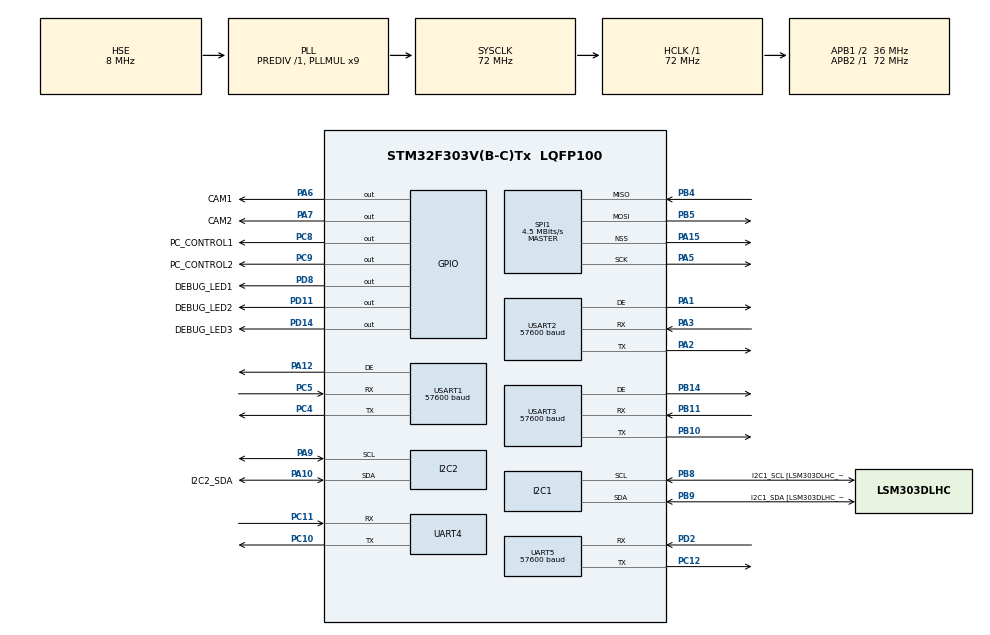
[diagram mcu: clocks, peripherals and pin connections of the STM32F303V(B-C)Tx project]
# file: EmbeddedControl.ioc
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Dma.Request0=USART2_RX
Dma.Request1=USART2_TX
Dma.Request2=USART3_RX
Dma.Request3=USART3_TX
Dma.Request4=USART1_RX
Dma.Request5=USART1_TX
Dma.Request6=UART4_RX
Dma.Request7=UART4_TX
Dma.UART4_RX.6.Direction=DMA_PERIPH_TO_MEMORY
Dma.UART4_RX.6.Instance=DMA2_Channel3
Dma.UART4_RX.6.MemDataAlignment=DMA_MDATAALIGN_BYTE
Dma.UART4_RX.6.MemInc=DMA_MINC_ENABLE
Dma.UART4_RX.6.Mode=DMA_NORMAL
Dma.UART4_RX.6.PeriphDataAlignment=DMA_PDATAALIGN_BYTE
Dma.UART4_RX.6.PeriphInc=DMA_PINC_DISABLE
Dma.UART4_RX.6.Priority=DMA_PRIORITY_VERY_HIGH
Dma.UART4_TX.7.Direction=DMA_MEMORY_TO_PERIPH
Dma.UART4_TX.7.Instance=DMA2_Channel5
Dma.UART4_TX.7.MemDataAlignment=DMA_MDATAALIGN_BYTE
Dma.UART4_TX.7.MemInc=DMA_MINC_ENABLE
Dma.UART4_TX.7.Mode=DMA_NORMAL
Dma.UART4_TX.7.PeriphDataAlignment=DMA_PDATAALIGN_BYTE
Dma.UART4_TX.7.PeriphInc=DMA_PINC_DISABLE
Dma.UART4_TX.7.Priority=DMA_PRIORITY_LOW
Dma.USART1_RX.4.Direction=DMA_PERIPH_TO_MEMORY
Dma.USART1_RX.4.Instance=DMA1_Channel5
Dma.USART1_RX.4.MemDataAlignment=DMA_MDATAALIGN_BYTE
Dma.USART1_RX.4.MemInc=DMA_MINC_ENABLE
Dma.USART1_RX.4.Mode=DMA_NORMAL
Dma.USART1_RX.4.PeriphDataAlignment=DMA_PDATAALIGN_BYTE
Dma.USART1_RX.4.PeriphInc=DMA_PINC_DISABLE
Dma.USART1_RX.4.Priority=DMA_PRIORITY_HIGH
Dma.USART1_TX.5.Direction=DMA_MEMORY_TO_PERIPH
Dma.USART1_TX.5.Instance=DMA1_Channel4
Dma.USART1_TX.5.MemDataAlignment=DMA_MDATAALIGN_BYTE
Dma.USART1_TX.5.MemInc=DMA_MINC_ENABLE
Dma.USART1_TX.5.Mode=DMA_NORMAL
Dma.USART1_TX.5.PeriphDataAlignment=DMA_PDATAALIGN_BYTE
Dma.USART1_TX.5.PeriphInc=DMA_PINC_DISABLE
Dma.USART1_TX.5.Priority=DMA_PRIORITY_HIGH
Dma.USART2_RX.0.Direction=DMA_PERIPH_TO_MEMORY
Dma.USART2_RX.0.Instance=DMA1_Channel6
Dma.USART2_RX.0.MemDataAlignment=DMA_MDATAALIGN_BYTE
Dma.USART2_RX.0.MemInc=DMA_MINC_ENABLE
Dma.USART2_RX.0.Mode=DMA_NORMAL
Dma.USART2_RX.0.PeriphDataAlignment=DMA_PDATAALIGN_BYTE
Dma.USART2_RX.0.PeriphInc=DMA_PINC_DISABLE
Dma.USART2_RX.0.Priority=DMA_PRIORITY_VERY_HIGH
Dma.USART2_TX.1.Direction=DMA_MEMORY_TO_PERIPH
Dma.USART2_TX.1.Instance=DMA1_Channel7
Dma.USART2_TX.1.MemDataAlignment=DMA_MDATAALIGN_BYTE
Dma.USART2_TX.1.MemInc=DMA_MINC_ENABLE
Dma.USART2_TX.1.Mode=DMA_NORMAL
Dma.USART2_TX.1.PeriphDataAlignment=DMA_PDATAALIGN_BYTE
Dma.USART2_TX.1.PeriphInc=DMA_PINC_DISABLE
Dma.USART2_TX.1.Priority=DMA_PRIORITY_VERY_HIGH
Dma.USART3_RX.2.Direction=DMA_PERIPH_TO_MEMORY
Dma.USART3_RX.2.Instance=DMA1_Channel3
Dma.USART3_RX.2.MemDataAlignment=DMA_MDATAALIGN_BYTE
Dma.USART3_RX.2.MemInc=DMA_MINC_ENABLE
Dma.USART3_RX.2.Mode=DMA_NORMAL
Dma.USART3_RX.2.PeriphDataAlignment=DMA_PDATAALIGN_BYTE
Dma.USART3_RX.2.PeriphInc=DMA_PINC_DISABLE
Dma.USART3_RX.2.Priority=DMA_PRIORITY_HIGH
Dma.USART3_TX.3.Direction=DMA_MEMORY_TO_PERIPH
Dma.USART3_TX.3.Instance=DMA1_Channel2
Dma.USART3_TX.3.MemDataAlignment=DMA_MDATAALIGN_BYTE
Dma.USART3_TX.3.MemInc=DMA_MINC_ENABLE
Dma.USART3_TX.3.Mode=DMA_NORMAL
Dma.USART3_TX.3.PeriphDataAlignment=DMA_PDATAALIGN_BYTE
Dma.USART3_TX.3.PeriphInc=DMA_PINC_DISABLE
Dma.USART3_TX.3.Priority=DMA_PRIORITY_HIGH
FREERTOS.INCLUDE_vTaskDelayUntil=1
FREERTOS.MEMORY_ALLOCATION=2
FREERTOS.Mutexes01=mutData,Static,mutDataControlBlock
FREERTOS.Tasks01=tLedBlinkingTask,-2,128,func_tLedBlinkingTask,Default,NULL,Static,tLedBlinkingTaskBuffer,tLedBlinkingTaskControlBlock;tVmaCommTask,-1,128,func_tVmaCommTask,Default,NULL,Static,tVmaCommTaskBuffer,tVmaCommTaskControlBlock;tImuCommTask,-1,128,func_tImuCommTask,Default,NULL,Static,tImuCommTaskBuffer,tImuCommTaskControlBlock;tStabilizationTask,-1,128,func_tStabilizationTask,Default,NULL,Static,tStabilizationTaskBuffer,tStabilizationTaskControlBlock;tDevCommTask,-1,128,func_tDevCommTask,Default,NULL,Static,tDevCommTaskBuffer,tDevCommTaskControlBlock;tSensCommTask,-1,128,func_tSensCommTask,Default,NULL,Static,tSensCommTaskBuffer,tSensCommTaskControlBlock;tPcCommTask,-1,128,func_tPcCommTask,Default,NULL,Static,tPcCommTaskBuffer,tPcCommTaskControlBlock
FREERTOS.Timers01=tUartTimer,func_tUartTimer,osTimerOnce,Default,NULL,Dynamic,NULL;tSilence,tSilence_func,osTimerOnce,Default,NULL,Dynamic,NULL;tTechCommTImer,tTechCommTImer_callback,osTimerOnce,Default,NULL,Dynamic,NULL
FREERTOS.configMAX_PRIORITIES=4
FREERTOS.configMAX_TASK_NAME_LEN=32
FREERTOS.configTOTAL_HEAP_SIZE=1024
FREERTOS.configUSE_MUTEXES=1
FREERTOS.configUSE_TIMERS=1
I2C1.Timing=0x10808DD3
Mcu.Family=STM32F3
Mcu.Name=STM32F303V(B-C)Tx
Mcu.Package=LQFP100
NVIC.DMA1_Channel2_IRQn=true\:5\:0\:false\:false\:true\:true\:false\:true
NVIC.DMA1_Channel3_IRQn=true\:5\:0\:false\:false\:true\:true\:false\:true
NVIC.DMA1_Channel4_IRQn=true\:5\:0\:false\:false\:true\:true\:false\:true
NVIC.DMA1_Channel5_IRQn=true\:5\:0\:false\:false\:true\:true\:false\:true
NVIC.DMA1_Channel6_IRQn=true\:5\:0\:false\:false\:true\:true\:false\:true
NVIC.DMA1_Channel7_IRQn=true\:5\:0\:false\:false\:true\:true\:false\:true
NVIC.DMA2_Channel3_IRQn=true\:5\:0\:false\:false\:true\:true\:false\:true
NVIC.DMA2_Channel5_IRQn=true\:5\:0\:false\:false\:true\:true\:false\:true
NVIC.I2C1_EV_IRQn=true\:5\:0\:false\:false\:true\:true\:true\:true
NVIC.I2C2_EV_IRQn=true\:5\:0\:false\:false\:true\:true\:true\:true
NVIC.PriorityGroup=NVIC_PRIORITYGROUP_4
NVIC.TIM1_UP_TIM16_IRQn=true\:0\:0\:false\:false\:true\:false\:false\:true
NVIC.TimeBase=TIM1_UP_TIM16_IRQn
NVIC.TimeBaseIP=TIM1
NVIC.UART4_IRQn=true\:5\:0\:false\:false\:true\:true\:true\:true
NVIC.UART5_IRQn=true\:5\:0\:false\:false\:true\:true\:true\:true
NVIC.USART1_IRQn=true\:5\:0\:false\:false\:true\:true\:true\:true
NVIC.USART2_IRQn=true\:5\:0\:false\:false\:true\:true\:true\:true
NVIC.USART3_IRQn=true\:5\:0\:false\:false\:true\:true\:true\:true
PA1.Mode=Hardware Flow Control (RS485)
PA1.Signal=USART2_DE
PA10.GPIO_Label=I2C2_SDA
PA10.GPIO_PuPdOD=GPIO_NOPULL
PA10.Mode=I2C
PA10.Signal=I2C2_SDA
PA12.Mode=Hardware Flow Control (RS485)
PA12.Signal=USART1_DE
PA13.Mode=Trace_Asynchronous_SW
PA13.Signal=SYS_JTMS-SWDIO
PA14.GPIO_Label=SWCLK
PA14.Mode=Trace_Asynchronous_SW
PA14.Signal=SYS_JTCK-SWCLK
PA15.Mode=NSS_Signal_Hard_Output
PA15.Signal=SPI1_NSS
PA2.GPIO_PuPd=GPIO_PULLUP
PA2.Mode=Asynchronous
PA2.Signal=USART2_TX
PA3.GPIO_PuPd=GPIO_PULLUP
PA3.Mode=Asynchronous
PA3.Signal=USART2_RX
PA5.Mode=Full_Duplex_Master
PA5.Signal=SPI1_SCK
PA6.GPIO_Label=CAM1
PA6.Signal=GPIO_Output
PA7.GPIO_Label=CAM2
PA7.Signal=GPIO_Output
PA9.GPIO_PuPdOD=GPIO_NOPULL
PA9.Mode=I2C
PA9.Signal=I2C2_SCL
PB10.GPIO_PuPd=GPIO_PULLUP
PB10.Mode=Asynchronous
PB10.Signal=USART3_TX
PB11.GPIO_PuPd=GPIO_PULLUP
PB11.Mode=Asynchronous
PB11.Signal=USART3_RX
PB14.Mode=Hardware Flow Control (RS485)
PB14.Signal=USART3_DE
PB3.GPIO_Label=SWO
PB3.Mode=Trace_Asynchronous_SW
PB3.Signal=SYS_JTDO-TRACESWO
PB4.Mode=Full_Duplex_Master
PB4.Signal=SPI1_MISO
PB5.Mode=Full_Duplex_Master
PB5.Signal=SPI1_MOSI
PB8.GPIO_FM6=__NULL
PB8.GPIO_Label=I2C1_SCL [LSM303DLHC_SCL]
PB8.GPIO_Mode=GPIO_MODE_AF_OD
PB8.GPIO_PuPdOD=GPIO_NOPULL
PB8.GPIO_Speed=GPIO_SPEED_FREQ_LOW
PB8.Mode=I2C
PB8.Signal=I2C1_SCL
PB9.GPIO_FM7=__NULL
PB9.GPIO_Label=I2C1_SDA [LSM303DLHC_SDA]
PB9.GPIO_Mode=GPIO_MODE_AF_OD
PB9.GPIO_PuPdOD=GPIO_NOPULL
PB9.GPIO_Speed=GPIO_SPEED_FREQ_LOW
PB9.Mode=I2C
PB9.Signal=I2C1_SDA
PC10.GPIO_PuPd=GPIO_PULLUP
PC10.Mode=Asynchronous
PC10.Signal=UART4_TX
PC11.GPIO_PuPd=GPIO_PULLUP
PC11.Mode=Asynchronous
PC11.Signal=UART4_RX
PC12.GPIO_ModeDefaultPP=GPIO_MODE_AF_OD
PC12.GPIO_PuPd=GPIO_NOPULL
PC12.Mode=Asynchronous
PC12.Signal=UART5_TX
PC4.GPIO_PuPd=GPIO_PULLUP
PC4.Mode=Asynchronous
PC4.Signal=USART1_TX
PC5.GPIO_PuPd=GPIO_PULLUP
PC5.Mode=Asynchronous
PC5.Signal=USART1_RX
PC8.GPIO_Label=PC_CONTROL1
PC8.Signal=GPIO_Output
PC9.GPIO_Label=PC_CONTROL2
PC9.Signal=GPIO_Output
PD11.GPIO_Label=DEBUG_LED2
PD11.Signal=GPIO_Output
PD14.GPIO_Label=DEBUG_LED3
PD14.Signal=GPIO_Output
PD2.GPIO_ModeDefaultPP=GPIO_MODE_AF_OD
PD2.GPIO_PuPd=GPIO_NOPULL
PD2.Mode=Asynchronous
PD2.Signal=UART5_RX
PD8.GPIO_Label=DEBUG_LED1
PD8.Signal=GPIO_Output
PF0-OSC_IN.GPIO_Label=OSC_IN
PF0-OSC_IN.Mode=HSE-External-Oscillator
PF0-OSC_IN.Signal=RCC_OSC_IN
PF1-OSC_OUT.GPIO_Label=OSC_OUT
PF1-OSC_OUT.Mode=HSE-External-Oscillator
PF1-OSC_OUT.Signal=RCC_OSC_OUT
ProjectManager.HeapSize=0x200
ProjectManager.StackSize=0x400
ProjectManager.TargetToolchain=TrueSTUDIO
RCC.AHBFreq_Value=72000000
RCC.APB1CLKDivider=RCC_HCLK_DIV2
RCC.APB1Freq_Value=36000000
RCC.APB1TimFreq_Value=72000000
RCC.APB2Freq_Value=72000000
RCC.APB2TimFreq_Value=72000000
RCC.CortexFreq_Value=72000000
RCC.HCLKFreq_Value=72000000
RCC.HSE_VALUE=8000000
RCC.HSI_VALUE=8000000
RCC.I2c1ClockSelection=RCC_I2C1CLKSOURCE_SYSCLK
RCC.LSE_VALUE=32768
RCC.PLLMUL=RCC_PLL_MUL9
RCC.PLLSourceVirtual=RCC_PLLSOURCE_HSE
RCC.SYSCLKFreq_VALUE=72000000
RCC.SYSCLKSourceVirtual=RCC_SYSCLKSOURCE_PLLCLK
RCC.USBFreq_Value=72000000
RCC.Uart4ClockSelection=RCC_UART4CLKSOURCE_SYSCLK
RCC.Usart2ClockSelection=RCC_USART2CLKSOURCE_SYSCLK
RCC.Usart3ClockSelection=RCC_USART3CLKSOURCE_SYSCLK
SPI1.BaudRatePrescaler=SPI_BAUDRATEPRESCALER_16
SPI1.CalculateBaudRate=4.5 MBits/s
SPI1.Direction=SPI_DIRECTION_2LINES
SPI1.Mode=SPI_MODE_MASTER
SPI1.VirtualNSS=VM_NSSHARD
SPI1.VirtualType=VM_MASTER
UART4.DMADisableonRxErrorParam=UART_ADVFEATURE_DMA_DISABLEONRXERROR
UART5.BaudRate=57600
UART5.SwapParam=UART_ADVFEATURE_SWAP_ENABLE
USART1.BaudRate=57600
USART1.DMADisableonRxErrorParam=ADVFEATURE_DMA_ENABLEONRXERROR
USART1.VirtualMode-Asynchronous=VM_ASYNC
USART1.VirtualMode-Hardware\ Flow\ Control\ (RS485)=VM_ASYNC
USART2.BaudRate=57600
USART2.DMADisableonRxErrorParam=ADVFEATURE_DMA_ENABLEONRXERROR
USART2.VirtualMode-Asynchronous=VM_ASYNC
USART2.VirtualMode-Hardware\ Flow\ Control\ (RS485)=VM_ASYNC
USART3.BaudRate=57600
USART3.DMADisableonRxErrorParam=ADVFEATURE_DMA_ENABLEONRXERROR
USART3.VirtualMode-Asynchronous=VM_ASYNC
USART3.VirtualMode-Hardware\ Flow\ Control\ (RS485)=VM_ASYNC
VP_FREERTOS_VS_CMSIS_V1.Mode=CMSIS_V1
VP_SYS_VS_tim1.Mode=TIM1
VP_TIM7_VS_ClockSourceINT.Mode=Enable_Timer
board=STM32F3DISCOVERY

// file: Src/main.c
/* USER CODE BEGIN Header */
/**
  ******************************************************************************
  * @file           : main.c
  * @brief          : Main program body
  ******************************************************************************
  * This notice applies to any and all portions of this file
  * that are not between comment pairs USER CODE BEGIN and
  * USER CODE END. Other portions of this file, whether
  * inserted by the user or by software development tools
  * are owned by their respective copyright owners.
  *
  * Copyright (c) 2018 STMicroelectronics International N.V.
  * All rights reserved.
  *
  * Redistribution and use in source and binary forms, with or without
  * modification, are permitted, provided that the following conditions are met:
  *
  * 1. Redistribution of source code must retain the above copyright notice,
  *    this list of conditions and the following disclaimer.
  * 2. Redistributions in binary form must reproduce the above copyright notice,
  *    this list of conditions and the following disclaimer in the documentation
  *    and/or other materials provided with the distribution.
  * 3. Neither the name of STMicroelectronics nor the names of other
  *    contributors to this software may be used to endorse or promote products
  *    derived from this software without specific written permission.
  * 4. This software, including modifications and/or derivative works of this
  *    software, must execute solely and exclusively on microcontroller or
  *    microprocessor devices manufactured by or for STMicroelectronics.
  * 5. Redistribution and use of this software other than as permitted under
  *    this license is void and will automatically terminate your rights under
  *    this license.
  *
  * THIS SOFTWARE IS PROVIDED BY STMICROELECTRONICS AND CONTRIBUTORS "AS IS"
  * AND ANY EXPRESS, IMPLIED OR STATUTORY WARRANTIES, INCLUDING, BUT NOT
  * LIMITED TO, THE IMPLIED WARRANTIES OF MERCHANTABILITY, FITNESS FOR A
  * PARTICULAR PURPOSE AND NON-INFRINGEMENT OF THIRD PARTY INTELLECTUAL PROPERTY
  * RIGHTS ARE DISCLAIMED TO THE FULLEST EXTENT PERMITTED BY LAW. IN NO EVENT
  * SHALL STMICROELECTRONICS OR CONTRIBUTORS BE LIABLE FOR ANY DIRECT, INDIRECT,
  * INCIDENTAL, SPECIAL, EXEMPLARY, OR CONSEQUENTIAL DAMAGES (INCLUDING, BUT NOT
  * LIMITED TO, PROCUREMENT OF SUBSTITUTE GOODS OR SERVICES; LOSS OF USE, DATA,
  * OR PROFITS; OR BUSINESS INTERRUPTION) HOWEVER CAUSED AND ON ANY THEORY OF
  * LIABILITY, WHETHER IN CONTRACT, STRICT LIABILITY, OR TORT (INCLUDING
  * NEGLIGENCE OR OTHERWISE) ARISING IN ANY WAY OUT OF THE USE OF THIS SOFTWARE,
  * EVEN IF ADVISED OF THE POSSIBILITY OF SUCH DAMAGE.
  *
  ******************************************************************************
  */
/* USER CODE END Header */

#include "main.h"
#include "cmsis_os.h"
#include "dma.h"
#include "i2c.h"
#include "spi.h"
#include "tim.h"
#include "usart.h"
#include "gpio.h"

/* USER CODE BEGIN PV */
/* Private variables ---------------------------------------------------------*/

/* USER CODE END PV */

void SystemClock_Config(void);
void MX_FREERTOS_Init(void);
/* USER CODE BEGIN PFP */
/* Private function prototypes -----------------------------------------------*/

/* USER CODE END PFP */

int main(void) {

  /* MCU Configuration--------------------------------------------------------*/

  /* Reset of all peripherals, Initializes the Flash interface and the Systick. */
  HAL_Init();

  /* Configure the system clock */
  SystemClock_Config();

  /* Initialize all configured peripherals */
  MX_GPIO_Init();
  MX_DMA_Init();
  MX_I2C1_Init();
  MX_TIM7_Init();
  MX_UART4_Init();
  MX_USART1_UART_Init();
  MX_USART2_UART_Init();
  MX_USART3_UART_Init();
  MX_I2C2_Init();
  MX_UART5_Init();
  MX_SPI1_Init();

  /* Call init function for freertos objects (in freertos.c) */
  //Jetson turn on
	HAL_GPIO_WritePin(PC_CONTROL1_GPIO_Port, PC_CONTROL1_Pin, GPIO_PIN_RESET); // RESET
	HAL_GPIO_WritePin(PC_CONTROL2_GPIO_Port, PC_CONTROL2_Pin, GPIO_PIN_RESET); // ONOFF
	HAL_Delay(10);
	HAL_GPIO_WritePin(PC_CONTROL1_GPIO_Port, PC_CONTROL1_Pin, GPIO_PIN_SET); // RESET
	HAL_GPIO_WritePin(PC_CONTROL2_GPIO_Port, PC_CONTROL2_Pin, GPIO_PIN_SET); // ONOFF
    //HAL_Delay(60e3);
     //HAL_Delay(10e3);

  MX_FREERTOS_Init();

  /* Start scheduler */
  osKernelStart();

  /* We should never get here as control is now taken by the scheduler */

  /* Infinite loop */
  while (1)
  {

  }
}

void SystemClock_Config(void)
{
  RCC_OscInitTypeDef RCC_OscInitStruct = {0};
  RCC_ClkInitTypeDef RCC_ClkInitStruct = {0};
  RCC_PeriphCLKInitTypeDef PeriphClkInit = {0};

  /** Initializes the CPU, AHB and APB busses clocks
  */
  RCC_OscInitStruct.OscillatorType = RCC_OSCILLATORTYPE_HSI|RCC_OSCILLATORTYPE_HSE;
  RCC_OscInitStruct.HSEState = RCC_HSE_ON;
  RCC_OscInitStruct.HSEPredivValue = RCC_HSE_PREDIV_DIV1;
  RCC_OscInitStruct.HSIState = RCC_HSI_ON;
  RCC_OscInitStruct.HSICalibrationValue = RCC_HSICALIBRATION_DEFAULT;
  RCC_OscInitStruct.PLL.PLLState = RCC_PLL_ON;
  RCC_OscInitStruct.PLL.PLLSource = RCC_PLLSOURCE_HSE;
  RCC_OscInitStruct.PLL.PLLMUL = RCC_PLL_MUL9;
  if (HAL_RCC_OscConfig(&RCC_OscInitStruct) != HAL_OK)
  {
    Error_Handler();
  }
  /** Initializes the CPU, AHB and APB busses clocks
  */
  RCC_ClkInitStruct.ClockType = RCC_CLOCKTYPE_HCLK|RCC_CLOCKTYPE_SYSCLK
                              |RCC_CLOCKTYPE_PCLK1|RCC_CLOCKTYPE_PCLK2;
  RCC_ClkInitStruct.SYSCLKSource = RCC_SYSCLKSOURCE_PLLCLK;
  RCC_ClkInitStruct.AHBCLKDivider = RCC_SYSCLK_DIV1;
  RCC_ClkInitStruct.APB1CLKDivider = RCC_HCLK_DIV2;
  RCC_ClkInitStruct.APB2CLKDivider = RCC_HCLK_DIV1;

  if (HAL_RCC_ClockConfig(&RCC_ClkInitStruct, FLASH_LATENCY_2) != HAL_OK)
  {
    Error_Handler();
  }
  PeriphClkInit.PeriphClockSelection = RCC_PERIPHCLK_USART1|RCC_PERIPHCLK_USART2
                              |RCC_PERIPHCLK_USART3|RCC_PERIPHCLK_UART4
                              |RCC_PERIPHCLK_UART5|RCC_PERIPHCLK_I2C1
                              |RCC_PERIPHCLK_I2C2;
  PeriphClkInit.Usart1ClockSelection = RCC_USART1CLKSOURCE_PCLK2;
  PeriphClkInit.Usart2ClockSelection = RCC_USART2CLKSOURCE_SYSCLK;
  PeriphClkInit.Usart3ClockSelection = RCC_USART3CLKSOURCE_SYSCLK;
  PeriphClkInit.Uart4ClockSelection = RCC_UART4CLKSOURCE_SYSCLK;
  PeriphClkInit.Uart5ClockSelection = RCC_UART5CLKSOURCE_PCLK1;
  PeriphClkInit.I2c1ClockSelection = RCC_I2C1CLKSOURCE_SYSCLK;
  PeriphClkInit.I2c2ClockSelection = RCC_I2C2CLKSOURCE_HSI;
  if (HAL_RCCEx_PeriphCLKConfig(&PeriphClkInit) != HAL_OK)
  {
    Error_Handler();
  }
}

void HAL_TIM_PeriodElapsedCallback(TIM_HandleTypeDef *htim)
{
  if (htim->Instance == TIM1) {
    HAL_IncTick();
  }
}

void Error_Handler(void)
{
  while(1)
  {
  }
}

/************************ (C) COPYRIGHT STMicroelectronics *****END OF FILE****/

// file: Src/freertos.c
/* USER CODE BEGIN Header */
/**
  ******************************************************************************
  * File Name          : freertos.c
  * Description        : Code for freertos applications
  ******************************************************************************
  * This notice applies to any and all portions of this file
  * that are not between comment pairs USER CODE BEGIN and
  * USER CODE END. Other portions of this file, whether
  * inserted by the user or by software development tools
  * are owned by their respective copyright owners.
  *
  * Copyright (c) 2018 STMicroelectronics International N.V.
  * All rights reserved.
  *
  * Redistribution and use in source and binary forms, with or without
  * modification, are permitted, provided that the following conditions are met:
  *
  * 1. Redistribution of source code must retain the above copyright notice,
  *    this list of conditions and the following disclaimer.
  * 2. Redistributions in binary form must reproduce the above copyright notice,
  *    this list of conditions and the following disclaimer in the documentation
  *    and/or other materials provided with the distribution.
  * 3. Neither the name of STMicroelectronics nor the names of other
  *    contributors to this software may be used to endorse or promote products
  *    derived from this software without specific written permission.
  * 4. This software, including modifications and/or derivative works of this
  *    software, must execute solely and exclusively on microcontroller or
  *    microprocessor devices manufactured by or for STMicroelectronics.
  * 5. Redistribution and use of this software other than as permitted under
  *    this license is void and will automatically terminate your rights under
  *    this license.
  *
  * THIS SOFTWARE IS PROVIDED BY STMICROELECTRONICS AND CONTRIBUTORS "AS IS"
  * AND ANY EXPRESS, IMPLIED OR STATUTORY WARRANTIES, INCLUDING, BUT NOT
  * LIMITED TO, THE IMPLIED WARRANTIES OF MERCHANTABILITY, FITNESS FOR A
  * PARTICULAR PURPOSE AND NON-INFRINGEMENT OF THIRD PARTY INTELLECTUAL PROPERTY
  * RIGHTS ARE DISCLAIMED TO THE FULLEST EXTENT PERMITTED BY LAW. IN NO EVENT
  * SHALL STMICROELECTRONICS OR CONTRIBUTORS BE LIABLE FOR ANY DIRECT, INDIRECT,
  * INCIDENTAL, SPECIAL, EXEMPLARY, OR CONSEQUENTIAL DAMAGES (INCLUDING, BUT NOT
  * LIMITED TO, PROCUREMENT OF SUBSTITUTE GOODS OR SERVICES; LOSS OF USE, DATA,
  * OR PROFITS; OR BUSINESS INTERRUPTION) HOWEVER CAUSED AND ON ANY THEORY OF
  * LIABILITY, WHETHER IN CONTRACT, STRICT LIABILITY, OR TORT (INCLUDING
  * NEGLIGENCE OR OTHERWISE) ARISING IN ANY WAY OUT OF THE USE OF THIS SOFTWARE,
  * EVEN IF ADVISED OF THE POSSIBILITY OF SUCH DAMAGE.
  *
  ******************************************************************************
  */
/* USER CODE END Header */

#include "FreeRTOS.h"
#include "task.h"
#include "main.h"
#include "cmsis_os.h"

/* USER CODE BEGIN Includes */
#include "usart.h"
#include "i2c.h"
#include "timers.h"
#include "messages.h"
#include "robot.h"
#include "global.h"
#include "communication.h"
#include "stabilization.h"
#include "checksum.h"
#include "thrusters.h"
/* USER CODE END Includes */

/* USER CODE BEGIN Variables */
#define SHORE_DELAY	  45

TimerHandle_t UARTTimer;
TimerHandle_t SilenceTimer;

uint8_t silence_ticks = 0;

/* USER CODE END Variables */
osThreadId tLedBlinkingTaskHandle;
uint32_t tLedBlinkingTaskBuffer[ 128 ];
osStaticThreadDef_t tLedBlinkingTaskControlBlock;
osThreadId tVmaCommTaskHandle;
uint32_t tVmaCommTaskBuffer[ 128 ];
osStaticThreadDef_t tVmaCommTaskControlBlock;
osThreadId tImuCommTaskHandle;
uint32_t tImuCommTaskBuffer[ 128 ];
osStaticThreadDef_t tImuCommTaskControlBlock;
osThreadId tStabilizationTaskHandle;
uint32_t tStabilizationTaskBuffer[ 128 ];
osStaticThreadDef_t tStabilizationTaskControlBlock;
osThreadId tDevCommTaskHandle;
uint32_t tDevCommTaskBuffer[ 128 ];
osStaticThreadDef_t tDevCommTaskControlBlock;
osThreadId tSensCommTaskHandle;
uint32_t tSensCommTaskBuffer[ 128 ];
osStaticThreadDef_t tSensCommTaskControlBlock;
osThreadId tPcCommTaskHandle;
uint32_t tPcCommTaskBuffer[ 128 ];
osStaticThreadDef_t tPcCommTaskControlBlock;
osTimerId tUartTimerHandle;
osTimerId tSilenceHandle;
osTimerId tTechCommTImerHandle;
osMutexId mutDataHandle;
osStaticMutexDef_t mutDataControlBlock;

/* USER CODE BEGIN FunctionPrototypes */
void nullIntArray(uint8_t *array, uint8_t size);
/* USER CODE END FunctionPrototypes */

void func_tLedBlinkingTask(void const * argument);
void func_tVmaCommTask(void const * argument);
void func_tImuCommTask(void const * argument);
void func_tStabilizationTask(void const * argument);
void func_tDevCommTask(void const * argument);
void func_tSensCommTask(void const * argument);
void func_tPcCommTask(void const * argument);
void func_tUartTimer(void const * argument);
void tSilence_func(void const * argument);
void tTechCommTImer_callback(void const * argument);

void MX_FREERTOS_Init(void); /* (MISRA C 2004 rule 8.1) */

/* GetIdleTaskMemory prototype (linked to static allocation support) */
void vApplicationGetIdleTaskMemory( StaticTask_t **ppxIdleTaskTCBBuffer, StackType_t **ppxIdleTaskStackBuffer, uint32_t *pulIdleTaskStackSize );

/* GetTimerTaskMemory prototype (linked to static allocation support) */
void vApplicationGetTimerTaskMemory( StaticTask_t **ppxTimerTaskTCBBuffer, StackType_t **ppxTimerTaskStackBuffer, uint32_t *pulTimerTaskStackSize );

/* USER CODE BEGIN GET_IDLE_TASK_MEMORY */
static StaticTask_t xIdleTaskTCBBuffer;
static StackType_t xIdleStack[configMINIMAL_STACK_SIZE];

void vApplicationGetIdleTaskMemory( StaticTask_t **ppxIdleTaskTCBBuffer, StackType_t **ppxIdleTaskStackBuffer, uint32_t *pulIdleTaskStackSize )
{
  *ppxIdleTaskTCBBuffer = &xIdleTaskTCBBuffer;
  *ppxIdleTaskStackBuffer = &xIdleStack[0];
  *pulIdleTaskStackSize = configMINIMAL_STACK_SIZE;
  /* place for user code */
}
/* USER CODE END GET_IDLE_TASK_MEMORY */

/* USER CODE BEGIN GET_TIMER_TASK_MEMORY */
static StaticTask_t xTimerTaskTCBBuffer;
static StackType_t xTimerStack[configTIMER_TASK_STACK_DEPTH];

void vApplicationGetTimerTaskMemory( StaticTask_t **ppxTimerTaskTCBBuffer, StackType_t **ppxTimerTaskStackBuffer, uint32_t *pulTimerTaskStackSize )
{
  *ppxTimerTaskTCBBuffer = &xTimerTaskTCBBuffer;
  *ppxTimerTaskStackBuffer = &xTimerStack[0];
  *pulTimerTaskStackSize = configTIMER_TASK_STACK_DEPTH;
  /* place for user code */
}
/* USER CODE END GET_TIMER_TASK_MEMORY */

void MX_FREERTOS_Init(void) {
  /* USER CODE BEGIN Init */
    uartBusesInit();
    variableInit();
    stabilizationInit();

    HAL_UART_Receive_IT(uartBus[SHORE_UART].huart, uartBus[SHORE_UART].rxBuffer, 1);

  /* USER CODE END Init */

  /* Create the mutex(es) */
  /* definition and creation of mutData */
  osMutexStaticDef(mutData, &mutDataControlBlock);
  mutDataHandle = osMutexCreate(osMutex(mutData));

  /* Create the timer(s) */
  /* definition and creation of tUartTimer */
  osTimerDef(tUartTimer, func_tUartTimer);
  tUartTimerHandle = osTimerCreate(osTimer(tUartTimer), osTimerOnce, NULL);

  /* definition and creation of tSilence */
  osTimerDef(tSilence, tSilence_func);
  tSilenceHandle = osTimerCreate(osTimer(tSilence), osTimerOnce, NULL);

  /* definition and creation of tTechCommTImer */
  osTimerDef(tTechCommTImer, tTechCommTImer_callback);
  tTechCommTImerHandle = osTimerCreate(osTimer(tTechCommTImer), osTimerOnce, NULL);

  /* USER CODE BEGIN RTOS_TIMERS */
  SilenceTimer = xTimerCreate("silence", DELAY_SILENCE/portTICK_RATE_MS, pdFALSE, 0, (TimerCallbackFunction_t) tSilence_func);
  UARTTimer = xTimerCreate("timer", DELAY_TIMER_TASK/portTICK_RATE_MS, pdFALSE, 0, (TimerCallbackFunction_t) func_tUartTimer);

  xTimerStart(SilenceTimer, 10);
  /* USER CODE END RTOS_TIMERS */

  /* Create the thread(s) */
  /* definition and creation of tLedBlinkingTask */
  osThreadStaticDef(tLedBlinkingTask, func_tLedBlinkingTask, osPriorityLow, 0, 128, tLedBlinkingTaskBuffer, &tLedBlinkingTaskControlBlock);
  tLedBlinkingTaskHandle = osThreadCreate(osThread(tLedBlinkingTask), NULL);

  /* definition and creation of tVmaCommTask */
  osThreadStaticDef(tVmaCommTask, func_tVmaCommTask, osPriorityBelowNormal, 0, 128, tVmaCommTaskBuffer, &tVmaCommTaskControlBlock);
  tVmaCommTaskHandle = osThreadCreate(osThread(tVmaCommTask), NULL);

  /* definition and creation of tImuCommTask */
  osThreadStaticDef(tImuCommTask, func_tImuCommTask, osPriorityBelowNormal, 0, 128, tImuCommTaskBuffer, &tImuCommTaskControlBlock);
  tImuCommTaskHandle = osThreadCreate(osThread(tImuCommTask), NULL);

  /* definition and creation of tStabilizationTask */
  osThreadStaticDef(tStabilizationTask, func_tStabilizationTask, osPriorityBelowNormal, 0, 128, tStabilizationTaskBuffer, &tStabilizationTaskControlBlock);
  tStabilizationTaskHandle = osThreadCreate(osThread(tStabilizationTask), NULL);

  /* definition and creation of tDevCommTask */
  osThreadStaticDef(tDevCommTask, func_tDevCommTask, osPriorityBelowNormal, 0, 128, tDevCommTaskBuffer, &tDevCommTaskControlBlock);
  tDevCommTaskHandle = osThreadCreate(osThread(tDevCommTask), NULL);

  /* definition and creation of tSensCommTask */
  osThreadStaticDef(tSensCommTask, func_tSensCommTask, osPriorityBelowNormal, 0, 128, tSensCommTaskBuffer, &tSensCommTaskControlBlock);
  tSensCommTaskHandle = osThreadCreate(osThread(tSensCommTask), NULL);

  /* definition and creation of tPcCommTask */
  osThreadStaticDef(tPcCommTask, func_tPcCommTask, osPriorityBelowNormal, 0, 128, tPcCommTaskBuffer, &tPcCommTaskControlBlock);
  tPcCommTaskHandle = osThreadCreate(osThread(tPcCommTask), NULL);

}

void func_tLedBlinkingTask(void const * argument)
{

  /* USER CODE BEGIN func_tLedBlinkingTask */
    uint32_t sysTime = osKernelSysTick();
  /* Infinite loop */
  for(;;)
  {
        HAL_GPIO_TogglePin(DEBUG_LED1_GPIO_Port, DEBUG_LED1_Pin);
        osDelayUntil(&sysTime, DELAY_LED_TASK);
        HAL_GPIO_TogglePin(DEBUG_LED2_GPIO_Port, DEBUG_LED2_Pin);
        osDelayUntil(&sysTime, DELAY_LED_TASK);
        HAL_GPIO_TogglePin(DEBUG_LED3_GPIO_Port, DEBUG_LED3_Pin);
        osDelayUntil(&sysTime, DELAY_LED_TASK);
  }
  /* USER CODE END func_tLedBlinkingTask */
}

void func_tVmaCommTask(void const * argument)
{
  /* USER CODE BEGIN func_tVmaCommTask */
	uint32_t sysTime = osKernelSysTick();
	uint8_t transaction = 0;
	/* Infinite loop */
	for(;;)
	{
		if(xSemaphoreTake(mutDataHandle, (TickType_t) DELAY_THRUSTERS_TASK) == pdTRUE) {
			fillThrustersRequest(ThrustersRequestBuffer, transaction);
			xSemaphoreGive(mutDataHandle);
		}

		uartBus[THRUSTERS_UART].txBuffer = ThrustersRequestBuffer;
		uartBus[THRUSTERS_UART].txLength = THRUSTERS_REQUEST_LENGTH;

		uartBus[THRUSTERS_UART].rxBuffer = ThrustersResponseBuffer[transaction];
		uartBus[THRUSTERS_UART].rxLength = THRUSTERS_RESPONSE_LENGTH;

		transmitAndReceive(&uartBus[THRUSTERS_UART], false);

		if(xSemaphoreTake(mutDataHandle, (TickType_t) DELAY_THRUSTERS_TASK) == pdTRUE) {
			fillThrustersResponse(ThrustersResponseBuffer[transaction], transaction);
			xSemaphoreGive(mutDataHandle);
		}

		transaction = (transaction + 1) % THRUSTERS_NUMBER;
		osDelayUntil(&sysTime, DELAY_THRUSTERS_TASK);
	}
  /* USER CODE END func_tVmaCommTask */
}

void func_tImuCommTask(void const * argument)
{
  /* USER CODE BEGIN func_tImuCommTask */
  uint32_t sysTime = osKernelSysTick();
  /* Infinite loop */
  for(;;)
  {
	  	if(rSensors.resetIMU) {
			uartBus[IMU_UART].txBuffer = ImuResetRequestBuffer;
			uartBus[IMU_UART].txLength = IMU_REQUEST_LENGTH;
	  		transmitPackage(&uartBus[IMU_UART], false);

	  		rSensors.pressure_null = rSensors.pressure;
	  		rSensors.resetIMU = false;
	  	}
	  	else {
	  		uartBus[IMU_UART].txBuffer = ImuRequestBuffer;
	  		uartBus[IMU_UART].txLength = IMU_REQUEST_LENGTH;

	  		uartBus[IMU_UART].rxBuffer = ImuResponseBuffer;
	  		uartBus[IMU_UART].rxLength = IMU_RESPONSE_LENGTH*IMU_CHECKSUMS;

	  		HAL_UART_Receive_IT(uartBus[IMU_UART].huart, uartBus[IMU_UART].rxBuffer, uartBus[IMU_UART].rxLength);
	  		HAL_UART_Transmit_IT(uartBus[IMU_UART].huart, uartBus[IMU_UART].txBuffer, uartBus[IMU_UART].txLength);
	  		osDelayUntil(&sysTime, DELAY_IMU_TASK);

	  		//if(transmitAndReceive(&uartBus[IMU_UART], false)) {
	  			if(xSemaphoreTake(mutDataHandle, (TickType_t) DELAY_IMU_TASK) == pdTRUE) {
	  				ImuReceive(ImuResponseBuffer);
	  				xSemaphoreGive(mutDataHandle);
	  			}
	  		//}

	  	}

	  	osDelayUntil(&sysTime, DELAY_IMU_TASK);
  }
  /* USER CODE END func_tImuCommTask */
}

void func_tStabilizationTask(void const * argument)
{
  /* USER CODE BEGIN func_tStabilizationTask */
	uint32_t sysTime = osKernelSysTick();
	/* Infinite loop */
	for(;;)
	{
		if(xSemaphoreTake(mutDataHandle, (TickType_t) DELAY_STABILIZATION_TASK) == pdTRUE) {
			for(uint8_t i=0; i<STABILIZATION_AMOUNT; i++) {
				if (rStabConstants[i].enable) {
					stabilizationUpdate(i);
				}
			}
			//formThrustVectors();
			xSemaphoreGive(mutDataHandle);
		}

		osDelayUntil(&sysTime, DELAY_STABILIZATION_TASK);
	}
  /* USER CODE END func_tStabilizationTask */
}

void func_tDevCommTask(void const * argument)
{
  /* USER CODE BEGIN func_tDevCommTask */
    uint32_t sysTime = osKernelSysTick();
    uint8_t transaction = 0;
  /* Infinite loop */
  for(;;)
  {
        if(xSemaphoreTake(mutDataHandle, (TickType_t) DELAY_DEVICES_TASK) == pdTRUE) {
            DevicesRequestUpdate(DevicesRequestBuffer, transaction);
            xSemaphoreGive(mutDataHandle);
        }

		uartBus[DEVICES_UART].txBuffer = DevicesRequestBuffer;
		uartBus[DEVICES_UART].txLength = DEVICES_REQUEST_LENGTH;

		uartBus[DEVICES_UART].rxBuffer = DevicesResponseBuffer[transaction];
		uartBus[DEVICES_UART].rxLength = DEVICES_RESPONSE_LENGTH;

		transmitAndReceive(&uartBus[DEVICES_UART], false);

        if(xSemaphoreTake(mutDataHandle, (TickType_t) DELAY_DEVICES_TASK) == pdTRUE) {
            DevicesResponseUpdate(DevicesResponseBuffer[transaction], transaction);
            xSemaphoreGive(mutDataHandle);
        }

        transaction = (transaction + 1) % DEVICES_NUMBER;
        osDelayUntil(&sysTime, DELAY_DEVICES_TASK);
  }
  /* USER CODE END func_tDevCommTask */
}

void func_tSensCommTask(void const * argument)
{
  /* USER CODE BEGIN func_tSensCommTask */
	uint32_t sysTime = osKernelSysTick();
  /* Infinite loop */
  for(;;)
  {
	  receiveI2cPackageDMA(DEV_I2C, SENSORS_PRESSURE_ADDR, PressureResponseBuffer, PRESSURE_SENSOR_SIZE);
	  osDelayUntil(&sysTime, DELAY_SENSOR_TASK);
	  if(xSemaphoreTake(mutDataHandle, (TickType_t) DELAY_SENSOR_TASK) == pdTRUE) {
	  	  SensorsResponseUpdate(PressureResponseBuffer, DEV_I2C);
	  	  xSemaphoreGive(mutDataHandle);
	  }
	  osDelayUntil(&sysTime, DELAY_SENSOR_TASK);
  }
  /* USER CODE END func_tSensCommTask */
}

void func_tPcCommTask(void const * argument)
{
  /* USER CODE BEGIN func_tPcCommTask */
	uint32_t sysTime = osKernelSysTick();
  /* Infinite loop */
  for(;;)
  {
	  osDelayUntil(&sysTime, DELAY_PC_TASK);
  }
  /* USER CODE END func_tPcCommTask */
}

/* func_tUartTimer function */
void func_tUartTimer(void const * argument)
{
  /* USER CODE BEGIN func_tUartTimer */
	if (uartBus[SHORE_UART].packageReceived) {
		bool package = true;
		if(xSemaphoreTake(mutDataHandle, (TickType_t) WAITING_TIMER) == pdTRUE) {
			switch(uartBus[SHORE_UART].rxBuffer[0]) {
				case SHORE_REQUEST_CODE:
					ShoreRequest(uartBus[SHORE_UART].rxBuffer);
					ShoreResponse(uartBus[SHORE_UART].txBuffer);
					uartBus[SHORE_UART].txLength = SHORE_RESPONSE_LENGTH;
					break;
				case REQUEST_CONFIG_CODE:
					ShoreConfigRequest(uartBus[SHORE_UART].rxBuffer);
					ShoreConfigResponse(uartBus[SHORE_UART].txBuffer);
					uartBus[SHORE_UART].txLength = SHORE_CONFIG_RESPONSE_LENGTH;
					break;
				case DIRECT_REQUEST_CODE:
					ShoreDirectRequest(uartBus[SHORE_UART].rxBuffer);
					ShoreDirectResponse(uartBus[SHORE_UART].txBuffer);
					uartBus[SHORE_UART].txLength = SHORE_DIRECT_RESPONSE_LENGTH;
					break;
				default:
					package = false;
			}
			xSemaphoreGive(mutDataHandle);
		}
		if(package) {
			HAL_UART_Transmit_IT(uartBus[SHORE_UART].huart, uartBus[SHORE_UART].txBuffer, uartBus[SHORE_UART].txLength);
		}
	}
	else {
		++uartBus[SHORE_UART].outdatedRxCounter;
	}
	counterRx = 0;
	uartBus[SHORE_UART].packageReceived = false;
	HAL_UART_AbortReceive_IT(uartBus[SHORE_UART].huart);
	HAL_UART_Receive_IT(uartBus[SHORE_UART].huart, uartBus[SHORE_UART].rxBuffer, 1);
  /* USER CODE END func_tUartTimer */
}

/* tSilence_func function */
void tSilence_func(void const * argument)
{
  /* USER CODE BEGIN tSilence_func */
	if(fromTickToMs(xTaskGetTickCount()) - uartBus[SHORE_UART].lastMessage > UART_SWITCH_DELAY && counterRx == 0) {
//		if(uartBus[SHORE_UART].huart == &huart1) {
//			uartBus[SHORE_UART].huart = &huart5;
//		}
//		else if(uartBus[SHORE_UART].huart == &huart5) {
//			uartBus[SHORE_UART].huart = &huart1;
//		}
		HAL_UART_AbortReceive_IT(uartBus[SHORE_UART].huart);
		HAL_UART_Receive_IT(uartBus[SHORE_UART].huart, uartBus[SHORE_UART].rxBuffer, 1);

		if(xSemaphoreTake(mutDataHandle, (TickType_t) WAITING_TIMER) == pdTRUE) {
			resetThrusters();
			for(uint8_t i=0; i<STABILIZATION_AMOUNT; i++) {
				rStabConstants[i].enable = false;
			}
			xSemaphoreGive(mutDataHandle);
		}

//		if(uartBus[SHORE_UART].lastMessage == 0) {
//			rState.pcCounter++;
//			switch(rState.pcCounter) {
//			case PC_POWERON_DELAY:
//				HAL_GPIO_WritePin(PC_CONTROL1_GPIO_Port, PC_CONTROL1_Pin, GPIO_PIN_SET); // RESET
//				HAL_GPIO_WritePin(PC_CONTROL2_GPIO_Port, PC_CONTROL2_Pin, GPIO_PIN_SET); // ONOFF
//				break;
//			case PC_POWERON_DELAY+1:
//			HAL_GPIO_WritePin(PC_CONTROL1_GPIO_Port, PC_CONTROL1_Pin, GPIO_PIN_RESET); // RESET
//			HAL_GPIO_WritePin(PC_CONTROL2_GPIO_Port, PC_CONTROL2_Pin, GPIO_PIN_RESET); // ONOFF
//			break;
//			case PC_POWERON_DELAY+2:
//			HAL_GPIO_WritePin(PC_CONTROL1_GPIO_Port, PC_CONTROL1_Pin, GPIO_PIN_SET); // RESET
//			HAL_GPIO_WritePin(PC_CONTROL2_GPIO_Port, PC_CONTROL2_Pin, GPIO_PIN_SET); // ONOFF
//			break;
//			}
		}
//	}
	//HAL_GPIO_WritePin(GPIOE, RES_PC_2_Pin, GPIO_PIN_SET); // ONOFF
	xTimerStart(SilenceTimer, 50);
  /* USER CODE END tSilence_func */
}

/* tTechCommTImer_callback function */
void tTechCommTImer_callback(void const * argument)
{
}

/************************ (C) COPYRIGHT STMicroelectronics *****END OF FILE****/
